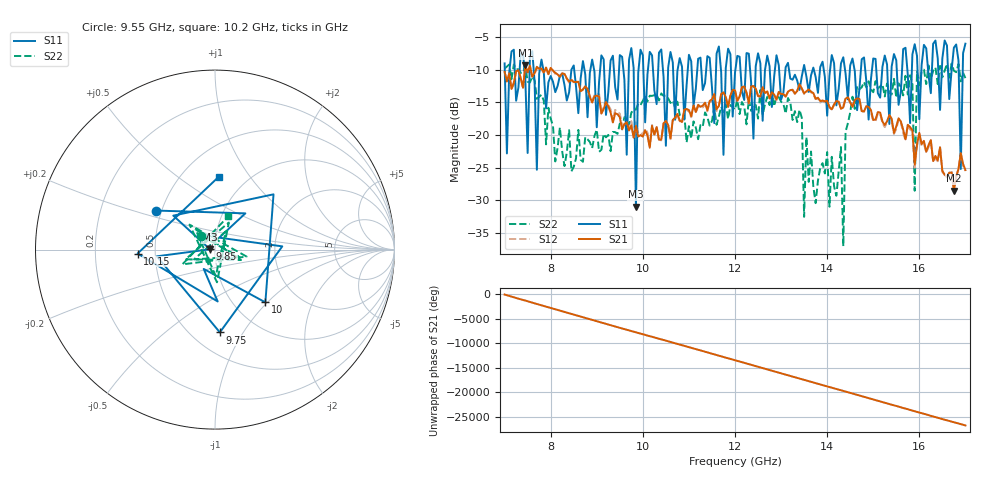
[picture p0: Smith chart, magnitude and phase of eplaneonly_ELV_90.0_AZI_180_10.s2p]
! 10/29/2026 5:10:56 PM
! C:\ANRITSUVNA\TEMP\TEMP.S2P
! CHANNEL.1
! TR.MEASUREMENT
! RAW.DATA
# HZ S RI R 50.0
! FREQ.HZ  S11RE  S11IM  S21RE  S21IM  S12RE  S12IM  S22RE  S22IM
!; PortSelection: Port_12
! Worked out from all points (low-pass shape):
!   201 points, 7 GHz to 17 GHz, reference 50 ohm
!   highest |S21| = -9.37 dB at 7.45 GHz (marker M1); lowest = -28.5 dB at 16.75 GHz (marker M2)
!   |S21| within 3 dB of the highest: 7.181 GHz to 7.386 GHz (204.8 MHz wide, 2.81 % of centre); 7.406 GHz to 8.617 GHz (1.211 GHz wide, 15.1 % of centre) (the widest 2 of 4)
!   lowest |S11| = -31.0 dB at 9.85 GHz (marker M3), VSWR 1.06, Z = 47.3 + j0.169 ohm
!   |S11| at or under -10 dB: 7.631 GHz to 7.765 GHz (133.7 MHz wide, 1.74 % of centre); 7.841 GHz to 8.451 GHz (610.5 MHz wide, 7.49 % of centre); 13.17 GHz to 13.48 GHz (308.3 MHz wide, 2.31 % of centre) (the widest 3 of 44)
!   |S22| runs from -37.0 to -9.1 dB; largest |S21 - S12| = 0.1
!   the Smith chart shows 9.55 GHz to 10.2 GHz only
!   S11 on the Smith chart (normalised r, x): 9.55 GHz: 0.46, +0.24; 9.75 GHz: 0.68, -0.80; 9.85 GHz: 0.95, +0.00; 10 GHz: 1.38, -0.97; 10.15 GHz: 0.40, -0.02; 10.2 GHz: 0.74, +0.72
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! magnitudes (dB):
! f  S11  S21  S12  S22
! 7 GHz  -9.1  -10.3  -10.4  -9.8
! 7.45 GHz  -11.5  -9.4  -9.3  -9.4
! 8.7 GHz  -8.7  -13.1  -13.0  -24.1
! 9.55 GHz  -8.0  -19.1  -18.7  -19.2
! 9.65 GHz  -23.0  -18.1  -17.4  -17.8
! 9.75 GHz  -6.7  -18.6  -17.9  -16.6
! 9.85 GHz  -31.0  -18.6  -18.1  -16.1
! 10 GHz  -7.8  -20.3  -19.9  -14.8
! 10.15 GHz  -7.3  -22.0  -21.7  -14.0
! 10.2 GHz  -7.8  -18.6  -18.5  -14.0
! 10.35 GHz  -7.4  -20.7  -20.7  -14.7
! 12 GHz  -10.5  -13.2  -13.2  -16.1
! 13.7 GHz  -9.7  -13.6  -13.8  -27.9
! 14.35 GHz  -8.1  -15.8  -15.6  -37.0
! 14.55 GHz  -8.3  -15.7  -15.7  -14.2
! 15.35 GHz  -18.3  -17.0  -17.2  -13.6
! 15.85 GHz  -7.7  -19.3  -19.5  -12.2
! 15.9 GHz  -6.1  -24.5  -25.0  -28.5
! 15.95 GHz  -7.9  -21.5  -21.7  -10.3
! 16.75 GHz  -6.7  -28.5  -28.4  -10.2
! 16.9 GHz  -25.2  -22.8  -22.9  -11.8
! 17 GHz  -6.0  -25.4  -25.5  -11.3
